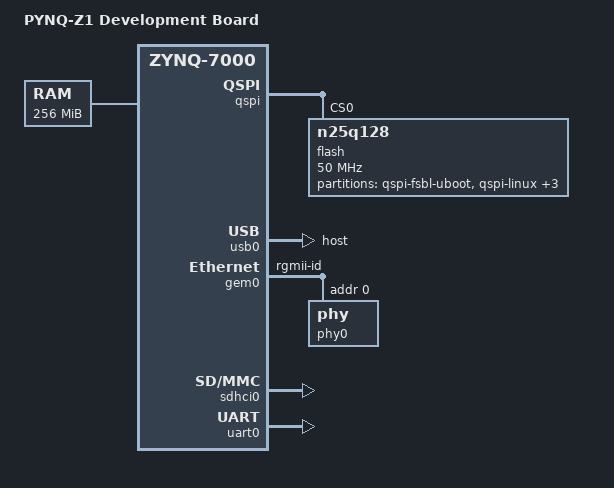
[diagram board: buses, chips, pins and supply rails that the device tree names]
/*
 *  Copyright (C) 2011 - 2014 Xilinx
 *  Copyright (C) 2012 National Instruments Corp.
 *
 * This software is licensed under the terms of the GNU General Public
 * License version 2, as published by the Free Software Foundation, and
 * may be copied, distributed, and modified under those terms.
 *
 * This program is distributed in the hope that it will be useful,
 * but WITHOUT ANY WARRANTY; without even the implied warranty of
 * MERCHANTABILITY or FITNESS FOR A PARTICULAR PURPOSE.  See the
 * GNU General Public License for more details.
 *
 * Adapted from zedboard_devicetree.dts for PYNQ-Z1: this board's
 * console UART is UART0 (MIO 14..15) not UART1 as on Zedboard (see
 * pynq-z1_board_files/pynq-z1/1.0/preset.xml), and it has 512MB DDR3
 * vs Zedboard's 256MB.
 */
/dts-v1/;
/include/ "zynq-7000.dtsi"

/ {
	model = "PYNQ-Z1 Development Board";
	compatible = "xlnx,zynq-pynqz1", "xlnx,zynq-7000";

	aliases {
		ethernet0 = &gem0;
		serial0 = &uart0;
		spi0 = &qspi;
	};

	memory {
		device_type = "memory";
		/* PYNQ-Z1 has 512MB (0x20000000) of DDR, but Linux is only given
		 * the low 256MB. The upper half is the Rocket core's DRAM,
		 * reached through the AXI HP0 port -- it is NOT separate memory.
		 *
		 * Handing all 512MB to Linux lets a program running on Rocket
		 * scribble over the ARM kernel: xv6's kinit() alone memsets every
		 * page from `end` to PHYSTOP (128MB), which wiped Linux out from
		 * under itself and produced slab-allocator Oopses on the ARM side.
		 * zedboard does the same thing (512MB board, 0x10000000 here). */
		reg = <0x0 0x10000000>;
	};

    htif_0: htif@43c00000 {
                #address-cells = <1>;
                #size-cells = <1>;
                compatible = "generic-uio", "uio", "uio_pdrv";
                reg = <0x43c00000 0x1000>;
    };

	chosen {
		/* The busybox rootfs is a cpio (initramfs) whose entry point is
		 * /sbin/init, not the /init that the kernel looks for by default.
		 * Without rdinit= the kernel unpacks the initramfs, finds no
		 * /init, silently falls back to mounting root= as a block device,
		 * and panics with "Unable to mount root fs". */
		/* cma=16M: the kernel is configured with CONFIG_CMA_SIZE_MBYTES=128,
		 * which was fine when Linux had all 512MB but is half of the RAM
		 * now that the upper 256MB is reserved for Rocket. At 128MB the
		 * reservation collides with where u-boot places the ramdisk and
		 * the kernel dies before it can print anything at all. */
		bootargs = "console=ttyPS0,115200 rw earlyprintk rdinit=/sbin/init cma=16M";
		linux,stdout-path = "/amba/serial@e0000000";
	};
};

&qspi {
	status = "okay";
	is-dual = <0>;
	num-cs = <1>;
	xlnx,fb-clk = <0x1>;
	xlnx,qspi-mode = <0x0>;
	flash@0 {
		compatible = "n25q128";
		reg = <0x0>;
		spi-tx-bus-width = <1>;
		spi-rx-bus-width = <4>;
		spi-max-frequency = <50000000>;
		#address-cells = <1>;
		#size-cells = <1>;
		partition@qspi-fsbl-uboot {
			label = "qspi-fsbl-uboot";
			reg = <0x0 0x100000>;
		};
		partition@qspi-linux {
			label = "qspi-linux";
			reg = <0x100000 0x500000>;
		};
		partition@qspi-device-tree {
			label = "qspi-device-tree";
			reg = <0x600000 0x20000>;
		};
		partition@qspi-rootfs {
			label = "qspi-rootfs";
			reg = <0x620000 0x5E0000>;
		};
		partition@qspi-bitstream {
			label = "qspi-bitstream";
			reg = <0xC00000 0x400000>;
		};
	};
};

&usb0 {
	status = "okay";
	dr_mode = "host";
	phy_type = "ulpi";
};

&gem0 {
	status = "okay";
	phy-mode = "rgmii-id";

	phy0: phy@0 {
		reg = <0>;
	};
};

&sdhci0 {
	status = "okay";
};

&uart0 {
	status = "okay";
};

/* PYNQ-Z1's PS reference oscillator is 50MHz (PCW_CRYSTAL_PERIPHERAL_FREQMHZ
 * in the board preset). zynq-7000.dtsi hardcodes the 33.33MHz Zedboard/ZC702
 * value, and the kernel derives every clock rate -- including the UART baud
 * divisor -- from it in software, so leaving it silently garbles the console
 * even though the PLLs are configured correctly by ps7_init(). Same root
 * cause as CONFIG_ZYNQ_PS_CLK_FREQ on the u-boot side. */
&clkc {
	ps-clk-frequency = <50000000>;
};
